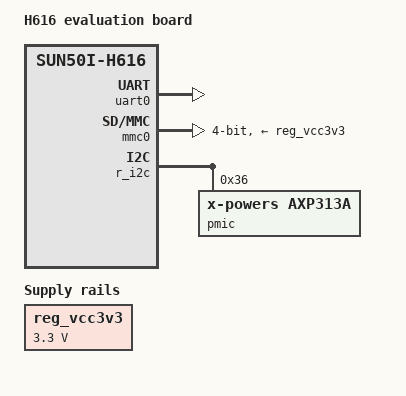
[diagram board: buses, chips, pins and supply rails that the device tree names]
/dts-v1/;

#include "sun50i-h616.dtsi"

/ {
	model = "H616 evaluation board";
	compatible = "allwinner,sun50i-h616";

	aliases {
		serial0 = &uart0;
		mmc0 = &mmc0;
	};

	chosen {
		stdout-path = "serial0:115200n8";
	};

	reg_vcc3v3: vcc3v3 {
		compatible = "regulator-fixed";
		regulator-name = "vcc3v3";
		regulator-min-microvolt = <3300000>;
		regulator-max-microvolt = <3300000>;
		regulator-always-on;
	};
};

&uart0 {
	pinctrl-names = "default";
	pinctrl-0 = <&uart0_ph_pins>;
	status = "okay";
};

&mmc0 {
	vmmc-supply = <&reg_vcc3v3>;
	bus-width = <4>;
	broken-cd;
	status = "okay";
};

&pio {
	vcc-pf-supply = <&reg_vcc3v3>;
	vcc-ph-supply = <&reg_vcc3v3>;
};

&r_i2c {
	status = "okay";

	pmic@36 {
		compatible = "x-powers,axp313a";
		reg = <0x36>;
	};
};
